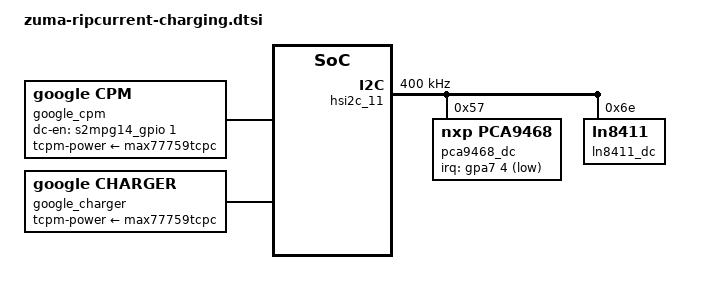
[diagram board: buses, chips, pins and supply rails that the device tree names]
// SPDX-License-Identifier: GPL-2.0-only
/*
 * Battery device tree entries specific to ripcurrent
 *
 * Copyright 2022 Google LLC
 *
 */

/ {
	fragment@charging {
		target-path = "/";
		__overlay__ {

			google_cpm: google,cpm {
				status = "okay";
				compatible = "google,cpm";
				#cooling-cells = <2>;

				google,chg-power-supplies = "main-charger",	// out-0
							    "dc-mains";	// out-1

				/* S2MPG12X01 -> GPIO_1 -> CHARGE_PUMP_EN */
				google,dc-en = <&s2mpg14_gpio 1 0>;
				/* DC enabled by default */
				google,dc-en-value = <1>;
				google,dc_limit-demand = <560000>;
				google,dc_limit-vbatt = <4350000>;
				google,dc_limit-vbatt_min = <3400000>;
				google,dc_limit-vbatt_max = <4470000>;
				google,dc_limit-vbatt_high = <4325000>;

				google,tcpm-power-supply = <&max77759tcpc>;	// in=0
				google,wlc_dc-power-supply = "wireless";	// in=1
				google,pps-awake;

				google,taper_step-count = <1>;
				google,wlc-dc-fcc-ua = <4950000>; /* 1C(4950mah) */

				// thermal budgets
				google,mdis-thermal-mitigation =
				<5677000 3413000 2603000 2017000 1919000 1506000  909000  575000  254000>;
				// source ONLINE selection criteria
				google,mdis-out-sel-online = <1 2>;
				// PD+main-charger, WLC+main-charger
				google,mdis-out0-limits =
				<4000000 3500000 3000000 3000000 2500000 2000000 1500000 1000000   500000
				 1100000  500000  500000  500000  250000  250000  100000  100000   100000>;
				// PPS_CP+pca94xx-mains, // WLC_CP+pca94xx-mains
				google,mdis-out1-limits =
				<6000000  5500000 5000000 4500000 3500000 3000000 2500000 2000000 1000000
				 5000000  4500000 4000000 3000000 2500000 2000000 1500000 1000000       0>;

				google,no-init-wlc-ta-vol;
			};

			google_charger: google,charger {
				status = "okay";
				compatible = "google,charger";
				#cooling-cells = <2>;

				google,chg-power-supply = "gcpm";
				google,bat-power-supply = "battery";
				google,usb-power-supply = "usb";
				google,tcpm-power-supply = <&max77759tcpc>;

				google,fv-max-uv = <4700000>;

				google,wlc-thermal-mitigation = <1100000 500000 250000 110000>;
				google,therm-wlc-overrides-fcc;

				/* b/170700459 thresholds, updated in b/191070950 */
				google,bd-resume-abs-temp = <280>;
				google,bd-resume-soc = <50>;
				google,bd-resume-time = <14400>;  /* 4 hours */
				google,bd-resume-temp = <290>;
				google,bd-trigger-time = <21600>; /* 6 hours */
				google,bd-trigger-temp = <350>;
				google,bd-trigger-voltage = <4270000>;
				google,bd-recharge-voltage = <4250000>;
				google,bd-drainto-soc = <80>;
				google,bd-recharge-soc = <79>;
				/* Enable TEMP-DEFEND */
				google,bd-temp-enable;
				google,bd-temp-dry-run;

				google,chg-termination-5v;
				google,chg-taper-last-tier;
			};

			google_bms {
				nvmem = <&pack_bee>;
			};

			google_wlc_charger: google,wlc_charger {
				#cooling-cells = <2>;
			};

			google_wlc_fcc_charger: google,wlc_fcc_charger {
				#cooling-cells = <2>;
			};

			google_mdis_charger: google,mdis_charger {
				#cooling-cells = <2>;
			};

		};
	};
};

&pinctrl_0 {

	dc_charger_irq: dc-charger-irq {
		samsung,pins = "gpa7-4"; /* XEINT_18 (PLC_INT_L) */
		samsung,pin-function = <EXYNOS_PIN_FUNC_EINT>;
		samsung,pin-pud = <EXYNOS_PIN_PULL_UP>;
	};
};


&max77759_chg {
	max77759,psy-name = "main-charger";
};

&hsi2c_11 {

	#address-cells = <1>;
	#size-cells = <0>;
	status = "okay";
	clock-frequency = <400000>;

	pca9468_dc: pca9468@57 {
		compatible = "nxp,pca9468";
		reg = <0x57>;

		pca9468,psy_name = "dc-mains";

		pinctrl-names = "default";
		pinctrl-0 = <&dc_charger_irq>;

		interrupt-parent = <&gpa7>;
		pca9468,irq-gpio = <&gpa7 4 GPIO_ACTIVE_LOW>; /* PLC_INT_L */

		pca9468,float-voltage = <4300000>; /* 4.3V */

		pca9468,input-itopoff = <500000>; /* 500mA */
		pca9468,sense-resistance = <0>; /* 5mOhm */
		pca9468,switching-frequency = <3>; /* 980KHz */

		/* disable USBC NTC */
		pca9468,ntc-threshold = <0>; /* disabled */

		/* USBC thermal zone */
		google,usb-port-tz-name = "usbc-therm-adc";

		/* irdrop */
		google,irdrop-limits = <105000 75000 0>;

		pca9468,google_cpm = <&google_cpm>;
	};

	ln8411_dc: ln8411@6e {
		compatible = "ln8411";
		reg = <0x6e>;

		ln8411,psy_name = "dc-mains";

		ln8411,input-itopoff = <500000>; /* 500mA */

		/* USBC thermal zone */
		google,usb-port-tz-name = "usbc-therm-adc";

		ln8411,google_cpm = <&google_cpm>;
		ln8411,input-current-limit = <3000000>;

		status = "ok";

		ln8411_gpio: ln8411_gpio {
			gpio-controller;
			#gpio-cells = <2>;
			ngpios = <1>;
		};
	};
};
